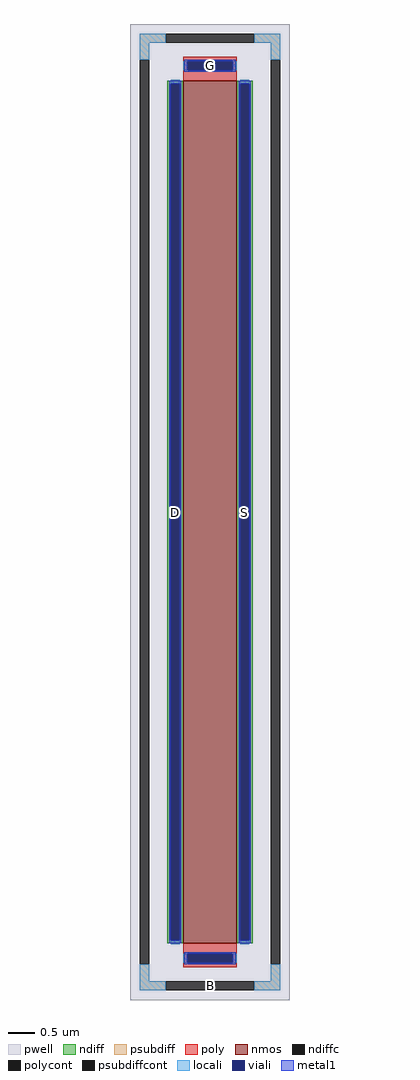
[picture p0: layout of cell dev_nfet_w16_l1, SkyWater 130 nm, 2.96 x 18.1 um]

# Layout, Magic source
magic
tech sky130A
magscale 1 2
<< pwell >>
rect -296 -1810 296 1810
<< nmos >>
rect -100 -1600 100 1600
<< ndiff >>
rect -158 1588 -100 1600
rect -158 -1588 -146 1588
rect -112 -1588 -100 1588
rect -158 -1600 -100 -1588
rect 100 1588 158 1600
rect 100 -1588 112 1588
rect 146 -1588 158 1588
rect 100 -1600 158 -1588
<< ndiffc >>
rect -146 -1588 -112 1588
rect 112 -1588 146 1588
<< psubdiff >>
rect -260 1740 -164 1774
rect 164 1740 260 1774
rect -260 1678 -226 1740
rect 226 1678 260 1740
rect -260 -1740 -226 -1678
rect 226 -1740 260 -1678
rect -260 -1774 -164 -1740
rect 164 -1774 260 -1740
<< psubdiffcont >>
rect -164 1740 164 1774
rect -260 -1678 -226 1678
rect 226 -1678 260 1678
rect -164 -1774 164 -1740
<< poly >>
rect -100 1672 100 1688
rect -100 1638 -84 1672
rect 84 1638 100 1672
rect -100 1600 100 1638
rect -100 -1638 100 -1600
rect -100 -1672 -84 -1638
rect 84 -1672 100 -1638
rect -100 -1688 100 -1672
<< polycont >>
rect -84 1638 84 1672
rect -84 -1672 84 -1638
<< locali >>
rect -260 1740 -164 1774
rect 164 1740 260 1774
rect -260 1678 -226 1740
rect 226 1678 260 1740
rect -100 1638 -84 1672
rect 84 1638 100 1672
rect -146 1588 -112 1604
rect -146 -1604 -112 -1588
rect 112 1588 146 1604
rect 112 -1604 146 -1588
rect -100 -1672 -84 -1638
rect 84 -1672 100 -1638
rect -260 -1740 -226 -1678
rect 226 -1740 260 -1678
rect -260 -1774 -164 -1740
rect 164 -1774 260 -1740
<< viali >>
rect -84 1638 84 1672
rect -146 -1588 -112 1588
rect 112 -1588 146 1588
rect -84 -1672 84 -1638
<< metal1 >>
rect -96 1672 96 1678
rect -96 1638 -84 1672
rect 84 1638 96 1672
rect -96 1632 96 1638
rect -152 1588 -106 1600
rect -152 -1588 -146 1588
rect -112 -1588 -106 1588
rect -152 -1600 -106 -1588
rect 106 1588 152 1600
rect 106 -1588 112 1588
rect 146 -1588 152 1588
rect 106 -1600 152 -1588
rect -96 -1638 96 -1632
rect -96 -1672 -84 -1638
rect 84 -1672 96 -1638
rect -96 -1678 96 -1672
<< labels >>
rlabel psubdiffcont 0 -1757 0 -1757 0 B
port 1 nsew
rlabel ndiffc -129 0 -129 0 0 D
port 2 nsew
rlabel ndiffc 129 0 129 0 0 S
port 3 nsew
rlabel polycont 0 1655 0 1655 0 G
port 4 nsew
<< properties >>
string FIXED_BBOX -243 -1757 243 1757
string gencell sky130_fd_pr__nfet_01v8
string library sky130
string parameters w 16 l 1 m 1 nf 1 diffcov 100 polycov 100 guard 1 glc 1 grc 1 gtc 1 gbc 1 tbcov 100 rlcov 100 topc 1 botc 1 poverlap 0 doverlap 1 lmin 0.15 wmin 0.42 class mosfet compatible {sky130_fd_pr__nfet_01v8 sky130_fd_pr__nfet_01v8_lvt  sky130_fd_bs_flash__special_sonosfet_star  sky130_fd_pr__nfet_g5v0d10v5 sky130_fd_pr__nfet_05v0_nvt  sky130_fd_pr__nfet_03v3_nvt} full_metal 1 conn_gates 0 viasrc 100 viadrn 100 viagate 100 viagb 0 viagr 0 viagl 0 viagt 0 doports 1
<< end >>
